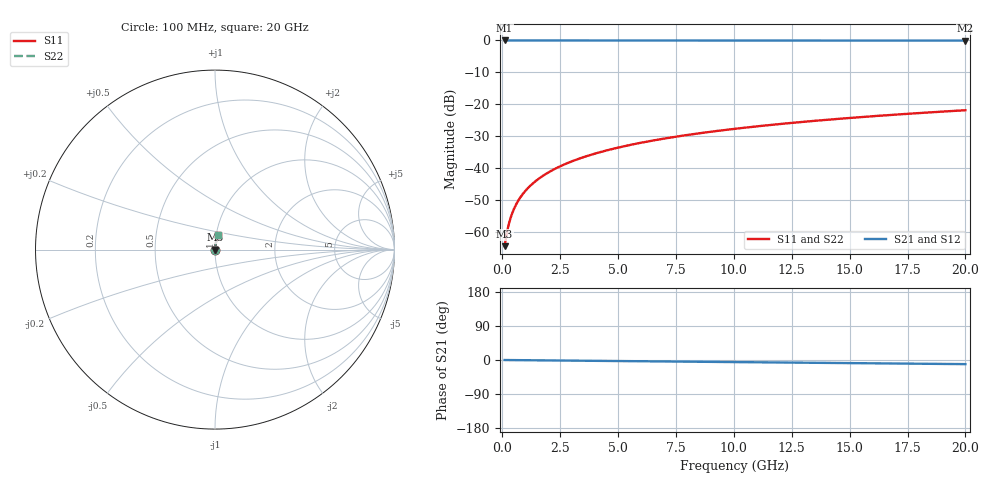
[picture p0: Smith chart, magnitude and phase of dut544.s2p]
! Touchstone file exported from HFSS 2026.1.0
!  File:  C:/ffzhzh/LocalFiles/Ansys_Project_Files/temp_train_TSV_544_1783024095_4048.aedt
!  Generated:  04:30:45 AM Jul  3, 2026
!  Design:  TSV
!  Project:  temp_train_TSV_544_1783024095_4048
! Variables:
!  h_bsmrdl = 2um
!  h_ox = 20um
!  h_rdl = 5um
!  h_sub = 99.6um
!  h_tmrdl = 5um
!  h_tsv = 99.6um
!  h_via = 3um
!  l_bsmrdl = 300um
!  l_sub = 411.08um
!  l_tmrdl = 200um
!  m_sub = 200um
!  pitch = 44.28um
!  r_tsv = 5.54um
!  s_tmrdl = 10um
!  w_bsmrdl = 18um
!  w_sub = 500um
!  w_tmrdl = 12um
!  x_tsv_center1 = 206um
!  x_tsv_center2 = 524um
!  x_tsv_center3 = 736um
!  x_tsv_center4 = 1054um
!  x_tsv_center5 = 1266um
!  x_tsv_center6 = 1584um
# GHz S MA R 50.000000
! Terminal data exported
! Port[1] = TSV1_1_T1
! Port[2] = TSV1_1_T2
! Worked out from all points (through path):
!   200 points, 100 MHz to 20 GHz, reference 50 ohm
!   highest |S21| = 0.00 dB at 100 MHz (marker M1); lowest = 0.0 dB at 20 GHz (marker M2)
!   group delay of S21, straight-line fit = 1.51 ps
!   lowest |S11| = -64.3 dB at 100 MHz (marker M3), VSWR 1.00, Z = 50 + j0.046 ohm
!   |S11| at or under -10 dB: start of sweep to end of sweep
!   |S22| runs from -64.3 to -21.8 dB; largest |S21 - S12| = 1.7e-15
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0.1  0.0006107 48.8  0.9996 -0.1  0.9996 -0.1  0.0006107 48.8
! Gamma 0 0 0 0
! Port Impedance 50 0 50 0
0.2  0.001006 65.7  0.9996 -0.1  0.9996 -0.1  0.001006 65.7
0.3  0.001437 72.6  0.9996 -0.2  0.9996 -0.2  0.001437 72.6
0.4  0.001876 76.0  0.9996 -0.2  0.9996 -0.2  0.001876 76.0
0.5  0.002316 78.1  0.9995 -0.3  0.9995 -0.3  0.002316 78.1
0.7  0.003189 80.3  0.9995 -0.4  0.9995 -0.4  0.003189 80.3
0.8  0.003621 81.0  0.9995 -0.5  0.9995 -0.5  0.003621 81.0
1  0.00448 82.0  0.9994 -0.6  0.9994 -0.6  0.00448 82.0
1.2  0.005332 82.6  0.9994 -0.7  0.9994 -0.7  0.005332 82.6
1.4  0.00618 83.1  0.9993 -0.8  0.9993 -0.8  0.00618 83.1
1.7  0.007448 83.6  0.9993 -1.0  0.9993 -1.0  0.007448 83.6
2  0.008712 83.9  0.9992 -1.1  0.9992 -1.1  0.008712 83.9
2.7  0.01165 84.2  0.9991 -1.5  0.9991 -1.5  0.01165 84.2
3.5  0.01498 84.3  0.9989 -1.9  0.9989 -1.9  0.01498 84.3
4.2  0.01788 84.2  0.9987 -2.3  0.9987 -2.3  0.01788 84.2
5  0.02117 84.0  0.9986 -2.8  0.9986 -2.8  0.02117 84.0
6.8  0.02851 83.4  0.9982 -3.7  0.9982 -3.7  0.02851 83.4
8.3  0.0346 82.9  0.9978 -4.6  0.9978 -4.6  0.0346 82.9
10.1  0.04187 82.1  0.9974 -5.5  0.9974 -5.5  0.04187 82.1
13.4  0.05511 80.6  0.9965 -7.3  0.9965 -7.3  0.05511 80.6
16.7  0.06824 79.1  0.9955 -9.1  0.9955 -9.1  0.06824 79.1
20  0.08122 77.4  0.9943 -10.9  0.9943 -10.9  0.08122 77.4
